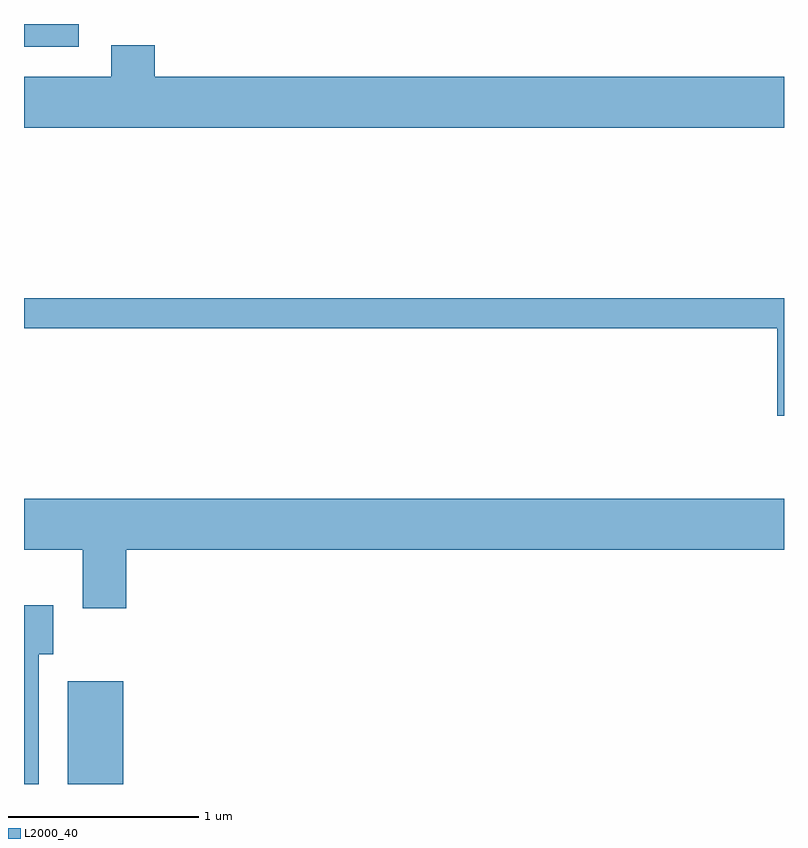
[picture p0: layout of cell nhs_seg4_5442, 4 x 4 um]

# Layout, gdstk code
import gdstk
lib = gdstk.Library(unit=1e-6, precision=1e-09)
def R(c, l, rs):  # rectangles x0, y0, x1, y1
    for r in rs: c.add(gdstk.rectangle(r[:2], r[2:], *l))
def P(c, l, *ps):  # polygons
    for p in ps: c.add(gdstk.Polygon(p, *l))
L2000_40 = (2000, 40)

nhs_seg4_5442 = lib.new_cell('nhs_seg4_5442')
R(nhs_seg4_5442, L2000_40, [(345.841,1257.982,346.134,1258.524), (345.611,1261.861,345.899,1261.982)])
P(nhs_seg4_5442, L2000_40, [(349.611,1261.704),(346.299,1261.704),(346.299,1261.869),(346.071,1261.869),(346.071,1261.704),(345.611,1261.704),(345.611,1261.436),(349.611,1261.436)],
  [(349.611,1260.539),(345.611,1260.539),(345.611,1260.381),(349.576,1260.381),(349.576,1259.921),(349.611,1259.921)],
  [(346.149,1259.216),(349.611,1259.216),(349.611,1259.484),(345.611,1259.484),(345.611,1259.216),(345.921,1259.216),(345.921,1258.906),(346.149,1258.906)],
  [(345.689,1258.666),(345.764,1258.666),(345.764,1258.924),(345.611,1258.924),(345.611,1257.982),(345.689,1257.982)])

lib.write_gds('nhs_seg4_5442.gds')
